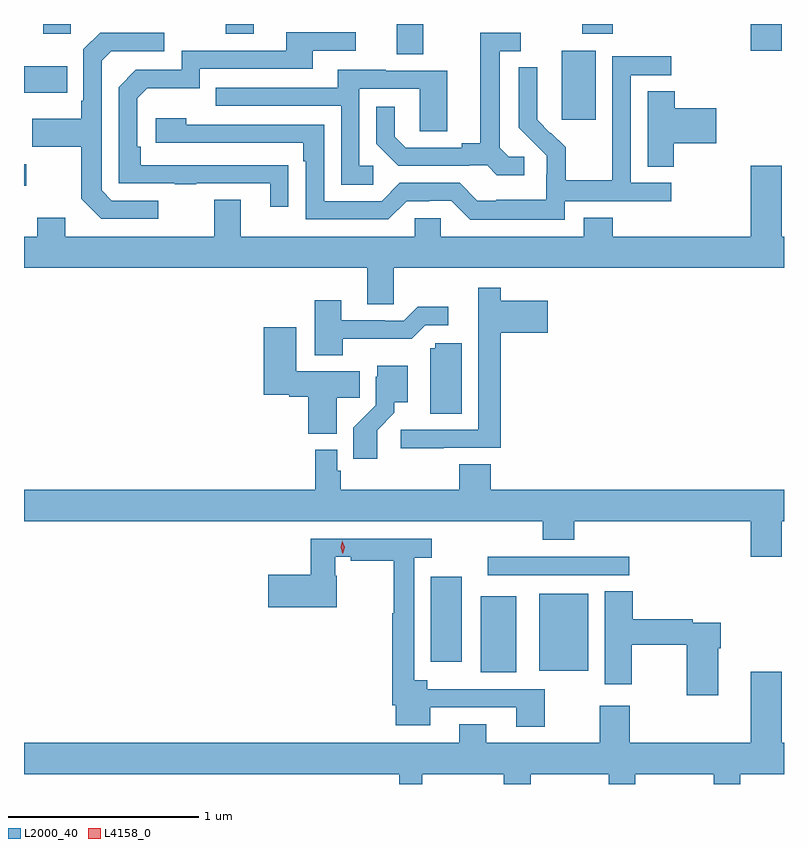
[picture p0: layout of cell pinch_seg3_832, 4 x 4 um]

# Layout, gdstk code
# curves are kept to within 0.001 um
import gdstk
lib = gdstk.Library(unit=1e-6, precision=1e-09)
def R(c, l, rs):  # rectangles x0, y0, x1, y1
    for r in rs: c.add(gdstk.rectangle(r[:2], r[2:], *l))
def P(c, l, *ps):  # polygons
    for p in ps: c.add(gdstk.Polygon(p, *l))
L2000_40 = (2000, 40)
L4158_0 = (4158, 0)

pinch_seg3_832 = lib.new_cell('pinch_seg3_832')
R(pinch_seg3_832, L2000_40, [(715.034,738.749,715.222,739.147), (715.343,738.755,715.6,739.162), (714.773,738.804,714.934,739.252), (715.071,739.26,715.816,739.356), (712.631,741.309,712.642,741.422), (715.46,741.657,715.639,742.018), (712.631,741.797,712.859,741.937), (714.593,742,714.733,742.16), (716.456,742.02,716.62,742.16), (712.732,742.109,712.878,742.16), (713.692,742.109,713.839,742.16), (715.57,742.109,715.73,742.16)])
P(pinch_seg3_832, L2000_40, [(714.023,741.416),(713.246,741.417),(713.246,741.514),(713.226,741.514),(713.226,741.768),(713.279,741.821),(713.556,741.821),(713.556,741.924),(714.151,741.924),(714.151,742.02),(714.376,742.02),(714.376,742.116),(714.011,742.116),(714.011,742.02),(713.46,742.02),(713.46,741.918),(713.22,741.918),(713.13,741.828),(713.13,741.321),(713.425,741.321),(713.425,741.316),(713.537,741.316),(713.537,741.321),(713.927,741.321),(713.927,741.198),(714.023,741.198)],
  [(713.338,741.231),(713.094,741.231),(713.04,741.285),(713.04,741.966),(713.091,742.017),(713.368,742.017),(713.368,742.113),(713.031,742.113),(712.944,742.026),(712.944,741.757),(712.932,741.757),(712.932,741.661),(712.675,741.661),(712.675,741.514),(712.932,741.514),(712.932,741.241),(713.037,741.135),(713.338,741.135)],
  [(715.264,741.462),(715.182,741.462),(715.135,741.509),(715.135,742.017),(715.246,742.017),(715.246,742.113),(715.031,742.113),(715.031,741.533),(714.935,741.533),(714.935,741.51),(714.64,741.51),(714.583,741.567),(714.583,741.724),(714.486,741.724),(714.486,741.53),(714.602,741.414),(714.974,741.414),(714.974,741.417),(715.068,741.417),(715.12,741.365),(715.264,741.365)],
  [(715.476,741.228),(716.038,741.228),(716.038,741.324),(715.824,741.324),(715.824,741.891),(716.038,741.891),(716.038,741.99),(715.728,741.99),(715.728,741.56),(715.726,741.56),(715.726,741.337),(715.481,741.337),(715.481,741.511),(715.404,741.588),(715.401,741.585),(715.331,741.656),(715.332,741.932),(715.236,741.932),(715.236,741.614),(715.382,741.466),(715.382,741.369),(715.38,741.369),(715.38,741.235),(715.117,741.235),(715.117,741.231),(715.017,741.231),(714.924,741.324),(714.609,741.324),(714.513,741.228),(714.21,741.228),(714.21,741.63),(713.486,741.63),(713.486,741.664),(713.325,741.664),(713.325,741.534),(714.101,741.534),(714.101,741.437),(714.114,741.437),(714.114,741.132),(714.549,741.132),(714.645,741.228),(714.764,741.228),(714.764,741.231),(714.879,741.231),(714.979,741.131),(715.476,741.131)],
  [(714.469,741.414),(714.396,741.414),(714.396,741.819),(714.714,741.819),(714.714,741.595),(714.859,741.595),(714.859,741.915),(714.535,741.915),(714.535,741.919),(714.281,741.919),(714.281,741.825),(713.641,741.825),(713.641,741.729),(714.3,741.729),(714.3,741.313),(714.469,741.313)],
  [(716.052,741.533),(716.275,741.533),(716.275,741.716),(716.057,741.716),(716.057,741.806),(715.913,741.806),(715.913,741.409),(716.052,741.409)],
  [(714.576,740.876),(716.631,740.876),(716.631,741.04),(716.62,741.04),(716.62,741.415),(716.456,741.415),(716.456,741.04),(715.73,741.04),(715.73,741.139),(715.577,741.139),(715.577,741.04),(714.825,741.04),(714.825,741.138),(714.687,741.138),(714.687,741.04),(713.773,741.04),(713.773,741.235),(713.633,741.235),(713.633,741.04),(712.849,741.04),(712.849,741.139),(712.702,741.139),(712.702,741.04),(712.631,741.04),(712.631,740.876),(714.437,740.876),(714.437,740.686),(714.576,740.686)],
  [(714.839,739.929),(715.139,739.929),(715.139,740.534),(715.387,740.534),(715.387,740.704),(715.139,740.704),(715.139,740.773),(715.022,740.773),(715.022,740.55),(715.023,740.55),(715.023,740.025),(714.615,740.025),(714.615,739.927),(714.839,739.927)],
  [(714.309,740.504),(714.673,740.504),(714.744,740.574),(714.865,740.574),(714.865,740.671),(714.703,740.671),(714.63,740.598),(714.53,740.598),(714.53,740.601),(714.301,740.601),(714.301,740.707),(714.161,740.707),(714.161,740.417),(714.309,740.417)],
  [(714.277,740.194),(714.398,740.194),(714.398,740.332),(714.064,740.332),(714.064,740.563),(713.894,740.563),(713.894,740.21),(714.027,740.21),(714.027,740.198),(714.128,740.198),(714.128,740.003),(714.277,740.003)],
  [(714.934,740.481),(714.795,740.481),(714.795,740.454),(714.77,740.454),(714.77,740.11),(714.934,740.11)],
  [(714.49,740.023),(714.58,740.113),(714.58,740.168),(714.652,740.168),(714.652,740.362),(714.491,740.362),(714.491,740.304),(714.483,740.304),(714.483,740.153),(714.364,740.034),(714.364,739.872),(714.49,739.872)],
  [(715.088,739.844),(714.923,739.844),(714.923,739.708),(714.299,739.708),(714.299,739.809),(714.279,739.809),(714.279,739.918),(714.163,739.918),(714.163,739.708),(712.631,739.708),(712.631,739.544),(715.361,739.544),(715.361,739.445),(715.526,739.445),(715.526,739.544),(716.456,739.544),(716.456,739.356),(716.62,739.356),(716.62,739.544),(716.631,739.544),(716.631,739.708),(715.088,739.708)],
  [(715.371,738.66),(714.754,738.66),(714.754,738.706),(714.684,738.706),(714.684,739.352),(714.778,739.352),(714.778,739.452),(714.139,739.452),(714.139,739.261),(713.916,739.261),(713.916,739.091),(714.276,739.091),(714.276,739.257),(714.268,739.257),(714.268,739.356),(714.352,739.356),(714.352,739.336),(714.576,739.336),(714.576,739.059),(714.568,739.059),(714.568,738.574),(714.587,738.574),(714.587,738.47),(714.769,738.47),(714.769,738.564),(715.223,738.564),(715.223,738.462),(715.371,738.462)],
  [(716.284,738.875),(716.297,738.875),(716.297,739.008),(716.15,739.008),(716.15,739.028),(715.835,739.028),(715.835,739.175),(715.688,739.175),(715.688,738.684),(715.83,738.684),(715.83,738.892),(716.119,738.892),(716.119,738.627),(716.284,738.627)],
  [(714.727,738.212),(715.157,738.212),(715.157,738.16),(715.297,738.16),(715.297,738.212),(715.709,738.212),(715.709,738.16),(715.849,738.16),(715.849,738.212),(716.261,738.212),(716.261,738.16),(716.401,738.16),(716.401,738.212),(716.631,738.212),(716.631,738.376),(716.62,738.376),(716.62,738.751),(716.456,738.751),(716.456,738.376),(715.82,738.376),(715.82,738.571),(715.66,738.571),(715.66,738.376),(715.063,738.376),(715.063,738.475),(714.923,738.475),(714.923,738.376),(712.631,738.376),(712.631,738.212),(714.606,738.212),(714.606,738.16),(714.727,738.16)])
P(pinch_seg3_832, L4158_0, [(714.309,739.372),(714.309,739.372),(714.298,739.405),(714.306,739.438),(714.306,739.439),(714.306,739.438),(714.318,739.406),(714.309,739.372)])

lib.write_gds('pinch_seg3_832.gds')
